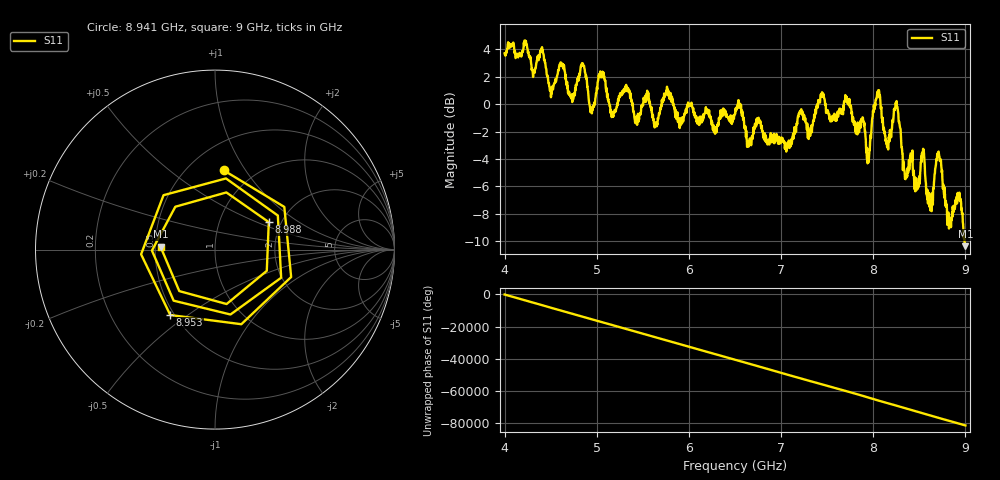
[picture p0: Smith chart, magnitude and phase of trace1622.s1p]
! Created with skrf 1.8.0 (http://scikit-rf.org).
# Hz S RI R 50.0
!freq ReS11 ImS11
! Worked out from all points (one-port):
!   1601 points, 4 GHz to 9 GHz, reference 50 ohm
!   lowest |S11| = -10.3 dB at 9 GHz (marker M1), VSWR 1.87, Z = 26.7 + j0.938 ohm
!   |S11| at or under -10 dB: 8.990444 GHz to end of sweep
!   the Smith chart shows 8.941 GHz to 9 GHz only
!   S11 on the Smith chart (normalised r, x): 8.941 GHz: 0.73, +0.80; 8.953 GHz: 0.48, -0.43; 8.988 GHz: 1.73, +0.60; 9 GHz: 0.53, +0.02
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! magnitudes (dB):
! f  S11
! 4 GHz  3.7
! 4.406 GHz  4.1
! 4.509 GHz  0.7
! 4.625 GHz  2.8
! 4.731 GHz  0.6
! 4.85 GHz  2.9
! 4.944 GHz  -0.6
! 5.047 GHz  1.9
! 5.166 GHz  -0.7
! 5.25 GHz  0.5
! 5.875 GHz  -0.6
! 6.5 GHz  -0.7
! 7.125 GHz  -2.4
! 7.441 GHz  0.5
! 7.75 GHz  -0.1
! 7.944 GHz  -3.6
! 8.05 GHz  0.7
! 8.153 GHz  -3.2
! 8.247 GHz  0.0
! 8.375 GHz  -4.6
! 8.538 GHz  -3.8
! 8.622 GHz  -7.1
! 8.709 GHz  -3.5
! 8.825 GHz  -8.7
! 8.941 GHz  -7.0
! 8.953 GHz  -7.1
! 8.988 GHz  -9.5
! 9 GHz  -10.3
